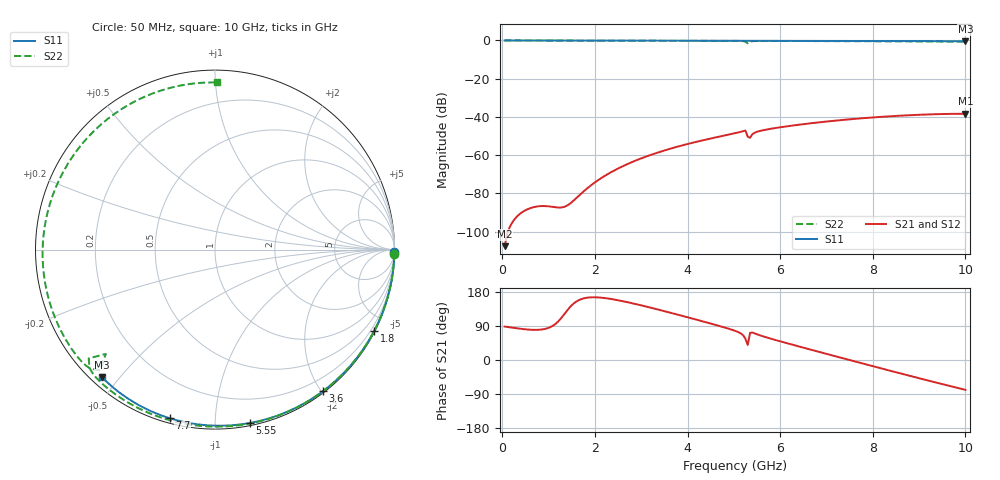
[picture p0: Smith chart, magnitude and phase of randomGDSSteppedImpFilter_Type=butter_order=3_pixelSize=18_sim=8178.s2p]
! freq	dB(S11)	phase(S11)	dB(S12)	phase(S12)
!  dB(S21)	phase(S21)	dB(S22)	phase(S22)
!S-par simulation data
#  GHz  S  DB  R 50
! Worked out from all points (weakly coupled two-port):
!   200 points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, 50 MHz to 10 GHz, reference 50 ohm
!   highest |S21| = -38.35 dB at 10 GHz (marker M1); lowest = -107.6 dB at 50 MHz (marker M2)
!   lowest |S11| = -0.4 dB at 10 GHz (marker M3), VSWR 38.90, Z = 1.55 - j22.5 ohm
!   |S11| at or under -10 dB: nowhere
!   |S22| runs from -1.5 to 0.0 dB; largest |S21 - S12| = 0
!   S11 on the Smith chart (normalised r, x): 50 MHz: open; 1.8 GHz: 0.04, -4.17; 3.6 GHz: 0.02, -2.02; 5.55 GHz: 0.02, -1.22; 7.7 GHz: 0.02, -0.77; 10 GHz: 0.03, -0.45
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0.05  -0.00 -0.8  -107.64 88.2  -107.64 88.2  -0.00 -1.4
0.85  -0.02 -12.8  -86.65 80.5  -86.65 80.5  -0.03 -23.7
1.7  -0.03 -25.5  -80.21 160.4  -80.21 160.4  -0.06 -46.8
1.75  -0.03 -26.2  -79.12 162.4  -79.12 162.4  -0.06 -48.1
1.8  -0.03 -26.9  -78.07 163.8  -78.07 163.8  -0.06 -49.5
2.1  -0.04 -31.3  -72.59 164.9  -72.59 164.9  -0.07 -57.4
2.5  -0.05 -37.1  -67.00 157.7  -67.00 157.7  -0.09 -67.8
3.4  -0.07 -49.9  -58.33 132.0  -58.33 132.0  -0.12 -90.6
3.6  -0.07 -52.7  -56.84 125.7  -56.84 125.7  -0.13 -95.6
4.35  -0.09 -62.9  -52.13 101.2  -52.13 101.2  -0.16 -113.9
5.05  -0.11 -72.2  -48.41 75.9  -48.41 75.9  -0.22 -131.6
5.25  -0.12 -74.8  -47.13 55.9  -47.13 55.9  -0.64 -139.3
5.3  -0.12 -75.5  -50.31 39.8  -50.31 39.8  -1.50 -136.3
5.35  -0.12 -76.1  -50.93 71.6  -50.93 71.6  -0.64 -133.6
5.4  -0.12 -76.8  -49.06 72.4  -49.06 72.4  -0.36 -136.1
5.55  -0.13 -78.7  -47.43 65.6  -47.43 65.6  -0.26 -141.2
6.1  -0.15 -85.6  -45.08 45.9  -45.08 45.9  -0.27 -155.4
6.7  -0.18 -93.1  -43.23 26.0  -43.23 26.0  -0.32 -170.5
7.7  -0.24 -105.1  -40.85 -6.6  -40.85 -6.6  -0.41 162.9
8.35  -0.29 -112.7  -39.71 -27.5  -39.71 -27.5  -0.47 144.1
9.25  -0.37 -123.0  -38.67 -55.9  -38.67 -55.9  -0.56 115.5
10  -0.45 -131.4  -38.35 -78.9  -38.35 -78.9  -0.62 89.3
